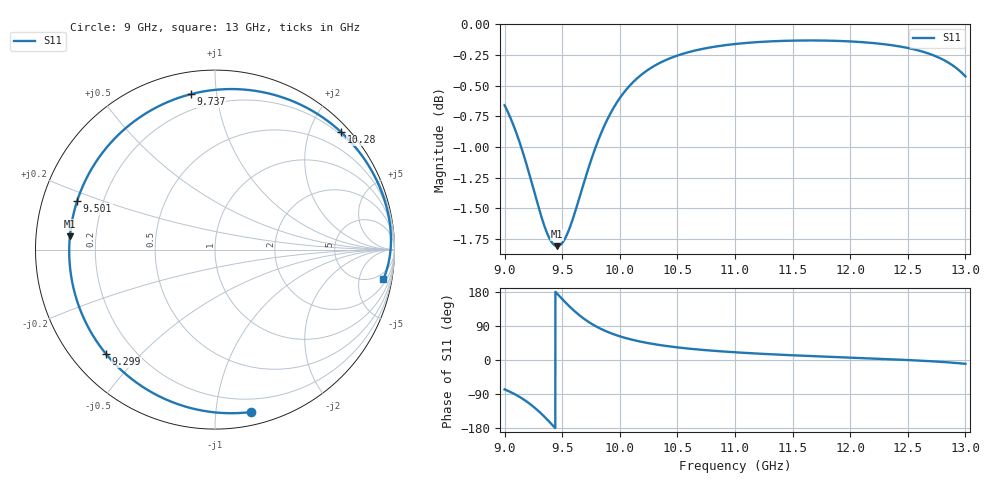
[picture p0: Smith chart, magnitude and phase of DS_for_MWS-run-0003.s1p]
! TOUCHSTONE file generated by CST DESIGN STUDIO
! Date and time: Tue Feb  4 18:24:18 2025
! Project name: C:\Work\MatlabApps\UnitCellOptimizationMatlab\CST\unitcell.cst
! Tree item: Tasks\Sweep1\SPara1\S-Parameters
! Header version: 2024
! Port assignment regex: !\s*Touchstone port\s*([0-9]+)\s*=\s*(CST MWS port|CST DES external port|CST DES block port)\s*(.+)\s* \(\"(.*)\"\)(\s*mode\s*([0-9]+))?.*
! Touchstone port assignment:
! Touchstone port 1 = CST DES external port 1 ("")
# GHz S MA R 50
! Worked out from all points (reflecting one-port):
!   4001 points, 9 GHz to 13 GHz, reference 50 ohm
!   lowest |S11| = -1.8 dB at 9.457 GHz (marker M1), VSWR 9.63, Z = 5.2 + j2.28 ohm
!   phase of S11 starts at -78 deg and turns -292 deg over the sweep
!   S11 on the Smith chart (normalised r, x): 9 GHz: 0.10, -1.24; 9.299 GHz: 0.10, -0.40; 9.501 GHz: 0.11, +0.17; 9.737 GHz: 0.11, +0.85; 10.28 GHz: 0.15, +2.54; 13 GHz: 3, -11
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9  0.9269 -77.6
9.027  0.9213 -81.1
9.092  0.9057 -90.9
9.167  0.8841 -104.5
9.235  0.8619 -119.5
9.299  0.8408 -136.1
9.343  0.8281 -148.9
9.383  0.819 -161.3
9.42  0.8137 -173.2
9.457  0.8119 174.7
9.5  0.8143 160.8
9.501  0.8144 160.5
9.562  0.8253 141.7
9.618  0.8403 126.0
9.675  0.8576 112.0
9.737  0.8763 98.9
9.797  0.8928 88.2
9.866  0.9092 77.8
10  0.9331 62.5
10.128  0.9485 52.0
10.277  0.9604 42.9
10.5  0.9712 33.3
10.723  0.9774 26.5
11  0.9818 20.4
11.5  0.9849 12.4
12  0.9842 6.3
12.5  0.9781 -0.1
13  0.9524 -10.0
